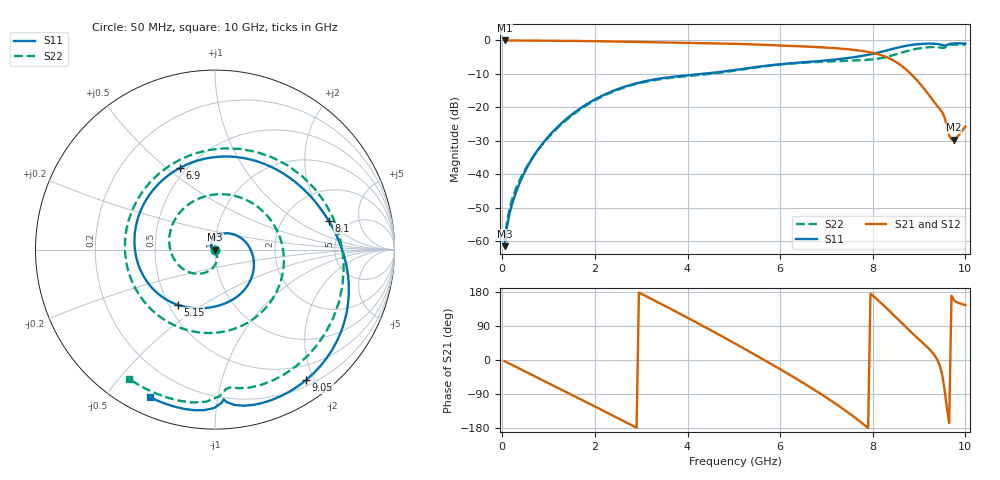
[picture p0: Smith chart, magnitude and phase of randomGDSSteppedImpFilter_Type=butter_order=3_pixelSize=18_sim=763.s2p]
! freq	dB(S11)	phase(S11)	dB(S12)	phase(S12)
!  dB(S21)	phase(S21)	dB(S22)	phase(S22)
!S-par simulation data
#  GHz  S  DB  R 50
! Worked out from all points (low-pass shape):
!   200 points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, 50 MHz to 10 GHz, reference 50 ohm
!   highest |S21| = -0.01 dB at 50 MHz (marker M1); lowest = -29.7 dB at 9.75 GHz (marker M2)
!   |S21| within 3 dB of the highest: start of sweep to 7.703 GHz
!   lowest |S11| = -61.6 dB at 50 MHz (marker M3), VSWR 1.00, Z = 50 - j0.0717 ohm
!   |S11| at or under -10 dB: start of sweep to 4.331 GHz
!   |S22| runs from -60.5 to -1.2 dB; largest |S21 - S12| = 0
!   S11 on the Smith chart (normalised r, x): 50 MHz: 1.00, -0.00; 5.15 GHz: 0.55, -0.40; 6.9 GHz: 0.46, +0.55; 8.1 GHz: 3.56, +2.01; 9.05 GHz: 0.28, -1.88; 10 GHz: 0.08, -0.65
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0.05  -61.57 -59.1  -0.01 -3.1  -0.01 -3.1  -60.54 -63.4
0.1  -55.80 -88.0  -0.01 -6.2  -0.01 -6.2  -54.40 -66.0
0.2  -49.49 -117.9  -0.02 -12.3  -0.02 -12.3  -48.12 -69.2
0.55  -37.62 179.3  -0.05 -33.6  -0.05 -33.6  -37.29 -67.1
1.15  -26.47 112.4  -0.10 -70.2  -0.10 -70.2  -26.76 -74.6
1.75  -19.72 60.6  -0.17 -107.2  -0.17 -107.2  -20.00 -96.0
2.6  -14.04 -0.2  -0.37 -160.0  -0.37 -160.0  -14.25 -140.5
3.4  -11.41 -46.8  -0.59 149.8  -0.59 149.8  -11.62 166.1
4.25  -10.11 -85.9  -0.78 95.2  -0.78 95.2  -10.35 96.2
5.05  -8.79 -119.5  -1.02 41.7  -1.02 41.7  -8.96 22.4
5.15  -8.60 -124.2  -1.06 34.9  -1.06 34.9  -8.75 13.5
5.9  -7.26 -167.2  -1.45 -17.1  -1.45 -17.1  -7.34 -48.1
6.7  -6.33 130.9  -1.92 -75.7  -1.92 -75.7  -6.53 -104.2
6.9  -6.10 113.4  -2.07 -91.2  -2.07 -91.2  -6.40 -118.0
7.6  -4.99 52.2  -2.83 -150.6  -2.83 -150.6  -6.01 -176.2
8.1  -3.70 14.4  -4.06 159.2  -4.06 159.2  -5.48 118.6
8.35  -2.82 -3.4  -5.31 130.6  -5.31 130.6  -4.76 76.1
8.7  -1.66 -29.2  -8.45 88.5  -8.45 88.5  -3.33 15.0
9.05  -1.05 -55.1  -13.46 48.4  -13.46 48.4  -2.27 -36.4
9.3  -0.97 -72.8  -17.93 17.8  -17.93 17.8  -1.97 -65.7
9.75  -0.89 -97.5  -29.72 158.3  -29.72 158.3  -1.26 -103.5
10  -0.93 -113.7  -25.77 144.8  -25.77 144.8  -1.26 -123.7
